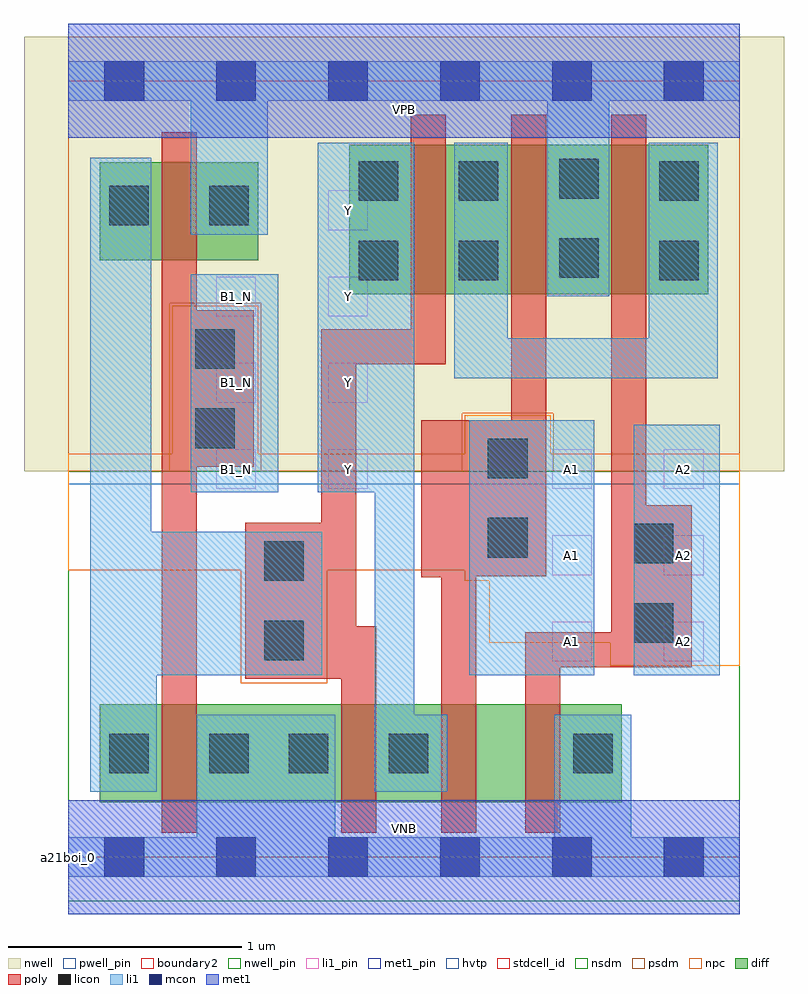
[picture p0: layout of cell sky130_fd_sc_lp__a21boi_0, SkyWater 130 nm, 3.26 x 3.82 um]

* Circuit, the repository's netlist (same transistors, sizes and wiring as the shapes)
* Copyright 2020 The SkyWater PDK Authors
*
* Licensed under the Apache License, Version 2.0 (the "License");
* you may not use this file except in compliance with the License.
* You may obtain a copy of the License at
*
*     https://www.apache.org/licenses/LICENSE-2.0
*
* Unless required by applicable law or agreed to in writing, software
* distributed under the License is distributed on an "AS IS" BASIS,
* WITHOUT WARRANTIES OR CONDITIONS OF ANY KIND, either express or implied.
* See the License for the specific language governing permissions and
* limitations under the License.
*
* SPDX-License-Identifier: Apache-2.0

.SUBCKT sky130_fd_sc_lp__a21boi_0 A1 A2 B1_N VGND VNB VPB VPWR Y
*.PININFO A1:I A2:I B1_N:I VGND:I VNB:I VPB:I VPWR:I Y:O
MMPA0 net38 A1 VPWR VPB sky130_fd_pr__pfet_01v8_hvt m=1 w=0.64U l=0.15U mult=1
+ sa=0.265 sb=0.265 sd=0.28 area=0.063 perim=1.14
MMPA1 net38 A2 VPWR VPB sky130_fd_pr__pfet_01v8_hvt m=1 w=0.64U l=0.15U mult=1
+ sa=0.265 sb=0.265 sd=0.28 area=0.063 perim=1.14
MMPB0 Y B1 net38 VPB sky130_fd_pr__pfet_01v8_hvt m=1 w=0.64U l=0.15U mult=1 sa=0.265
+ sb=0.265 sd=0.28 area=0.063 perim=1.14
MMIPB1N B1 B1_N VPWR VPB sky130_fd_pr__pfet_01v8_hvt m=1 w=0.42U l=0.15U mult=1
+ sa=0.265 sb=0.265 sd=0.28 area=0.063 perim=1.14
MMNA0 Y A1 sndA1 VNB sky130_fd_pr__nfet_01v8 m=1 w=0.42U l=0.15U mult=1 sa=0.265
+ sb=0.265 sd=0.28 area=0.063 perim=1.14
MMNA1 sndA1 A2 VGND VNB sky130_fd_pr__nfet_01v8 m=1 w=0.42U l=0.15U mult=1 sa=0.265
+ sb=0.265 sd=0.28 area=0.063 perim=1.14
MMNB0 Y B1 VGND VNB sky130_fd_pr__nfet_01v8 m=1 w=0.42U l=0.15U mult=1 sa=0.265
+ sb=0.265 sd=0.28 area=0.063 perim=1.14
MMINB1N B1 B1_N VGND VNB sky130_fd_pr__nfet_01v8 m=1 w=0.42U l=0.15U mult=1 sa=0.265
+ sb=0.265 sd=0.28 area=0.063 perim=1.14
.ENDS sky130_fd_sc_lp__a21boi_0

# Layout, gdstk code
import gdstk
lib = gdstk.Library(unit=1e-6, precision=1e-09)
def R(c, l, rs):  # rectangles x0, y0, x1, y1
    for r in rs: c.add(gdstk.rectangle(r[:2], r[2:], *l))
def A(c, l, x, y, w, h, nx, ny, dx, dy):  # array of equal rectangles
    R(c, l, [(x+i*dx, y+j*dy, x+i*dx+w, y+j*dy+h) for i in range(nx) for j in range(ny)])
def P(c, l, *ps):  # polygons
    for p in ps: c.add(gdstk.Polygon(p, *l))
nwell_pin = (64, 16)
nwell = (64, 20)
diff = (65, 20)
poly = (66, 20)
licon = (66, 44)
li1_pin = (67, 16)
li1 = (67, 20)
mcon = (67, 44)
met1_pin = (68, 16)
met1 = (68, 20)
hvtp = (78, 44)
stdcell_id = (81, 4)
nsdm = (93, 44)
psdm = (94, 20)
npc = (95, 20)
pwell_pin = (122, 16)
boundary2 = (236, 0)

sky130_fd_sc_lp__a21boi_ = lib.new_cell('sky130_fd_sc_lp__a21boi_0')
R(sky130_fd_sc_lp__a21boi_, nwell_pin, [(0,3.085,2.88,3.33)])
R(sky130_fd_sc_lp__a21boi_, nwell, [(-0.19,1.655,3.07,3.52)])
R(sky130_fd_sc_lp__a21boi_, diff, [(0.135,0.235,2.375,0.655), (1.205,2.415,2.745,3.055), (0.135,2.56,0.815,2.98)])
P(sky130_fd_sc_lp__a21boi_, poly, [(0.795,2.345),(0.55,2.345),(0.55,3.11),(0.4,3.11),(0.4,0.105),(0.55,0.105),(0.55,1.675),(0.795,1.675)],
  [(1.62,3.185),(1.47,3.185),(1.47,2.265),(1.085,2.265),(1.085,1.435),(0.76,1.435),(0.76,0.765),(1.17,0.765),(1.17,0.105),(1.32,0.105),(1.32,0.99),(1.235,0.99),(1.235,2.115),(1.62,2.115)],
  [(2.05,3.185),(1.9,3.185),(1.9,1.875),(1.515,1.875),(1.515,1.2),(1.6,1.2),(1.6,0.105),(1.75,0.105),(1.75,1.205),(2.05,1.205)],
  [(2.675,1.51),(2.48,1.51),(2.48,3.185),(2.33,3.185),(2.33,0.965),(1.96,0.965),(1.96,0.105),(2.11,0.105),(2.11,0.815),(2.675,0.815)])
R(sky130_fd_sc_lp__a21boi_, licon, [(0.175,0.36,0.345,0.53), (0.605,0.36,0.775,0.53), (0.945,0.36,1.115,0.53), (1.375,0.36,1.545,0.53), (2.165,0.36,2.335,0.53), (0.84,0.845,1.01,1.015), (2.425,0.92,2.595,1.09), (0.84,1.185,1.01,1.355), (2.425,1.26,2.595,1.43), (1.8,1.285,1.97,1.455), (1.8,1.625,1.97,1.795), (0.545,1.755,0.715,1.925), (0.545,2.095,0.715,2.265), (1.245,2.475,1.415,2.645), (1.675,2.475,1.845,2.645), (2.535,2.475,2.705,2.645), (2.105,2.485,2.275,2.655), (0.175,2.71,0.345,2.88), (0.605,2.71,0.775,2.88), (1.245,2.815,1.415,2.985), (1.675,2.815,1.845,2.985), (2.535,2.815,2.705,2.985), (2.105,2.825,2.275,2.995)])
A(sky130_fd_sc_lp__a21boi_, li1_pin, 2.075, 0.84, 0.17, 0.17, 1, 3, 0, 0.37)
A(sky130_fd_sc_lp__a21boi_, li1_pin, 2.555, 0.84, 0.17, 0.17, 1, 3, 0, 0.37)
A(sky130_fd_sc_lp__a21boi_, li1_pin, 0.635, 1.58, 0.17, 0.17, 1, 3, 0, 0.37)
A(sky130_fd_sc_lp__a21boi_, li1_pin, 1.115, 1.58, 0.17, 0.17, 1, 4, 0, 0.37)
R(sky130_fd_sc_lp__a21boi_, li1, [(1.72,0.78,2.255,1.875), (2.425,0.78,2.795,1.855), (0.525,1.565,0.9,2.5)])
P(sky130_fd_sc_lp__a21boi_, li1, [(2.785,3.065),(2.49,3.065),(2.49,2.225),(1.885,2.225),(1.885,3.065),(1.655,3.065),(1.655,2.055),(2.785,2.055)],
  [(2.88,0.085),(2.415,0.085),(2.415,0.61),(2.085,0.61),(2.085,0.085),(1.145,0.085),(1.145,0.61),(0.55,0.61),(0.55,0.085),(0,0.085),(0,-0.085),(2.88,-0.085)],
  [(2.88,3.415),(0,3.415),(0,3.245),(0.525,3.245),(0.525,2.67),(0.855,2.67),(0.855,3.245),(2.055,3.245),(2.055,2.405),(2.32,2.405),(2.32,3.245),(2.88,3.245)],
  [(1.09,1.395),(0.355,1.395),(0.355,3),(0.095,3),(0.095,0.28),(0.38,0.28),(0.38,0.78),(1.09,0.78)],
  [(1.625,0.61),(1.485,0.61),(1.485,3.065),(1.07,3.065),(1.07,1.565),(1.315,1.565),(1.315,0.28),(1.625,0.28)])
A(sky130_fd_sc_lp__a21boi_, mcon, 0.155, -0.085, 0.17, 0.17, 6, 2, 0.48, 3.33)
R(sky130_fd_sc_lp__a21boi_, met1_pin, [(0,0,2.88,0.245), (0,3.085,2.88,3.33)])
R(sky130_fd_sc_lp__a21boi_, met1, [(0,-0.245,2.88,0.245), (0,3.085,2.88,3.575)])
R(sky130_fd_sc_lp__a21boi_, hvtp, [(0,1.6,2.88,3.33)])
R(sky130_fd_sc_lp__a21boi_, stdcell_id, [(0,0,2.88,3.33)])
R(sky130_fd_sc_lp__a21boi_, nsdm, [(0,-0.19,2.88,1.655)])
P(sky130_fd_sc_lp__a21boi_, psdm, [(2.88,3.52),(0,3.52),(0,1.655),(0.435,1.655),(0.435,2.375),(0.825,2.375),(0.825,1.655),(1.69,1.655),(1.69,1.905),(2.08,1.905),(2.08,1.655),(2.88,1.655)])
P(sky130_fd_sc_lp__a21boi_, npc, [(2.88,1.73),(2.07,1.73),(2.07,1.895),(1.7,1.895),(1.7,1.73),(0.815,1.73),(0.815,2.365),(0.445,2.365),(0.445,1.73),(0,1.73),(0,1.23),(0.74,1.23),(0.74,0.745),(1.11,0.745),(1.11,1.23),(1.7,1.23),(1.7,1.185),(1.805,1.185),(1.805,0.92),(2.325,0.92),(2.325,0.82),(2.88,0.82)])
R(sky130_fd_sc_lp__a21boi_, pwell_pin, [(0,0,2.88,0.245)])
R(sky130_fd_sc_lp__a21boi_, boundary2, [(0,0,2.88,3.33)])
sky130_fd_sc_lp__a21boi_.add(gdstk.Label('VNB', (1.44,0.123), layer=64, texttype=59))
sky130_fd_sc_lp__a21boi_.add(gdstk.Label('VPB', (1.44,3.208), layer=64, texttype=5))
sky130_fd_sc_lp__a21boi_.add(gdstk.Label('a21boi_0', (0,0), layer=83, texttype=44))
sky130_fd_sc_lp__a21boi_.add(gdstk.Label('VPWR', (1.44,3.208), layer=68, texttype=5))
sky130_fd_sc_lp__a21boi_.add(gdstk.Label('VGND', (1.44,0.123), layer=68, texttype=5))
sky130_fd_sc_lp__a21boi_.add(gdstk.Label('A1', (2.16,0.925), layer=67, texttype=5))
sky130_fd_sc_lp__a21boi_.add(gdstk.Label('A1', (2.16,1.295), layer=67, texttype=5))
sky130_fd_sc_lp__a21boi_.add(gdstk.Label('A1', (2.16,1.665), layer=67, texttype=5))
sky130_fd_sc_lp__a21boi_.add(gdstk.Label('Y', (1.2,2.775), layer=67, texttype=5))
sky130_fd_sc_lp__a21boi_.add(gdstk.Label('A2', (2.64,0.925), layer=67, texttype=5))
sky130_fd_sc_lp__a21boi_.add(gdstk.Label('A2', (2.64,1.295), layer=67, texttype=5))
sky130_fd_sc_lp__a21boi_.add(gdstk.Label('A2', (2.64,1.665), layer=67, texttype=5))
sky130_fd_sc_lp__a21boi_.add(gdstk.Label('B1_N', (0.72,1.665), layer=67, texttype=5))
sky130_fd_sc_lp__a21boi_.add(gdstk.Label('B1_N', (0.72,2.035), layer=67, texttype=5))
sky130_fd_sc_lp__a21boi_.add(gdstk.Label('B1_N', (0.72,2.405), layer=67, texttype=5))
sky130_fd_sc_lp__a21boi_.add(gdstk.Label('Y', (1.2,1.665), layer=67, texttype=5))
sky130_fd_sc_lp__a21boi_.add(gdstk.Label('Y', (1.2,2.035), layer=67, texttype=5))
sky130_fd_sc_lp__a21boi_.add(gdstk.Label('Y', (1.2,2.405), layer=67, texttype=5))

lib.write_gds('sky130_fd_sc_lp__a21boi_0.gds')
